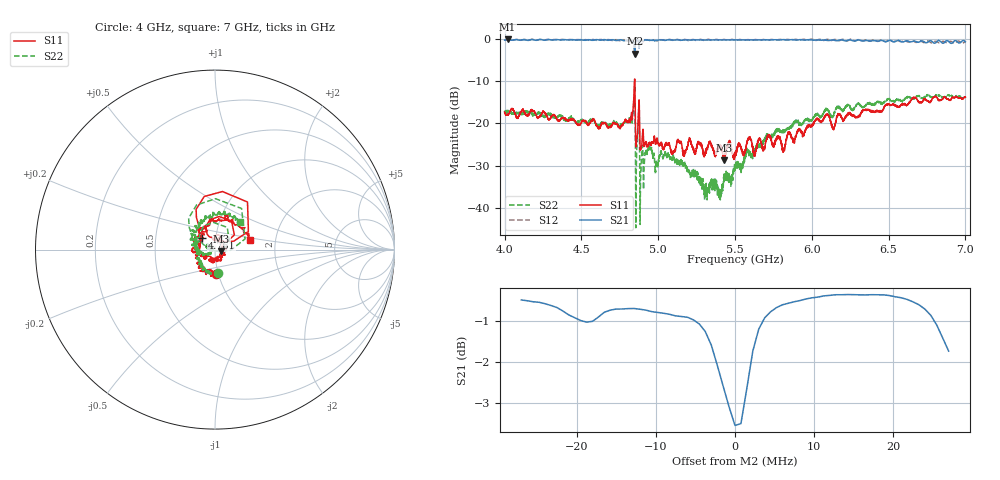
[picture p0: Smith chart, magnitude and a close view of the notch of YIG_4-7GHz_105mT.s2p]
#  HZ  S  RI  R  50.0
! Rohde & Schwarz ZVL13 2Ports - Version 3.31 - 1303.6509k13 SN: 101088
! Date: 2023-03-06 15:02:40
! Data & Calibration Information:
! Trc4:S11(TOSM) Trc2:S21(TOSM) Trc3:S12(TOSM) Trc5:S22(TOSM)
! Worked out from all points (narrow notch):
!   4000 points, 4 GHz to 7 GHz, reference 50 ohm
!   highest |S21| = -0.19 dB at 4.02 GHz (marker M1); lowest = -3.6 dB at 4.847 GHz (marker M2)
!   notch at M2: 3.2 dB deep, 4.5 MHz wide at half that depth
!   lowest |S11| = -28.7 dB at 5.428 GHz (marker M3), VSWR 1.08, Z = 53.7 - j0.988 ohm
!   |S11| at or under -10 dB: start of sweep to 4.845 GHz; 4.848 GHz to end of sweep
!   |S22| runs from -44.6 to -10.9 dB; largest |S21 - S12| = 0.076
!   S11 on the Smith chart (normalised r, x): 4 GHz: 0.97, -0.27; 4.761 GHz: 0.86, +0.11; 7 GHz: 1.48, +0.17
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4e9  0.00388 -0.1362  -0.9066 -0.3141  -0.9119 -0.292  0.017 -0.1301
4.019505e9  -0.019 -0.1245  -0.9393 -0.274  -0.9314 -0.2768  0.0126 -0.1408
4.276819e9  -0.0745 -0.0928  -0.9289 0.2805  -0.9308 0.2909  -0.0694 -0.1068
4.500375e9  -0.1028 -0.00869  -0.6578 0.7093  -0.6526 0.696  -0.0845 -0.0643
4.76069e9  -0.0714 0.0635  -0.1392 0.9525  -0.1532 0.9427  -0.0983 0.00751
4.834959e9  -0.0769 0.1107  0.045 0.9205  0.0831 0.9157  -0.1224 0.0529
4.846962e9  0.1107 0.3155  0.0132 0.6641  -0.0248 0.6201  0.0755 0.2745
4.894224e9  -0.0022 0.06  0.0846 0.947  0.0893 0.9386  -0.046 0.0111
4.942236e9  -0.009 0.057  0.2004 0.9306  0.2092 0.9272  -0.049 0.0219
5e9  0.0174 0.055  0.3101 0.9037  0.3069 0.8942  -0.032 0.0152
5.15979e9  0.0289 0.0392  0.6285 0.7247  0.6244 0.7262  -0.0269 0.0188
5.312078e9  0.0494 -0.00223  0.839 0.4682  0.8309 0.4791  -0.0126 0.00447
5.427607e9  0.0355 -0.00919  0.9343 0.2446  0.9443 0.2455  -0.0225 -0.00368
5.459865e9  0.0516 -0.0307  0.9474 0.1717  0.9338 0.1796  -0.024 -0.00929
5.500375e9  0.0309 -0.0339  0.9616 0.0816  0.9501 0.0756  -0.0233 -0.0155
5.736684e9  -0.00179 -0.0633  0.869 -0.4174  0.8797 -0.4185  -0.0667 -0.0231
5.815454e9  -0.0266 -0.0394  0.7819 -0.5752  0.7718 -0.573  -0.0779 -0.0234
6e9  -0.0917 -0.0113  0.4527 -0.8466  0.4649 -0.8669  -0.1095 0.0194
6.253563e9  -0.1074 0.0685  -0.1058 -0.9561  -0.1078 -0.9771  -0.1144 0.0995
6.500375e9  -0.0207 0.1681  -0.5884 -0.7416  -0.6052 -0.7421  -0.0528 0.1856
6.773443e9  0.1163 0.1355  -0.9148 -0.2376  -0.8751 -0.2006  0.0508 0.1991
7e9  0.1957 0.0545  -0.8815 0.2523  -0.9016 0.2246  0.1395 0.1486
